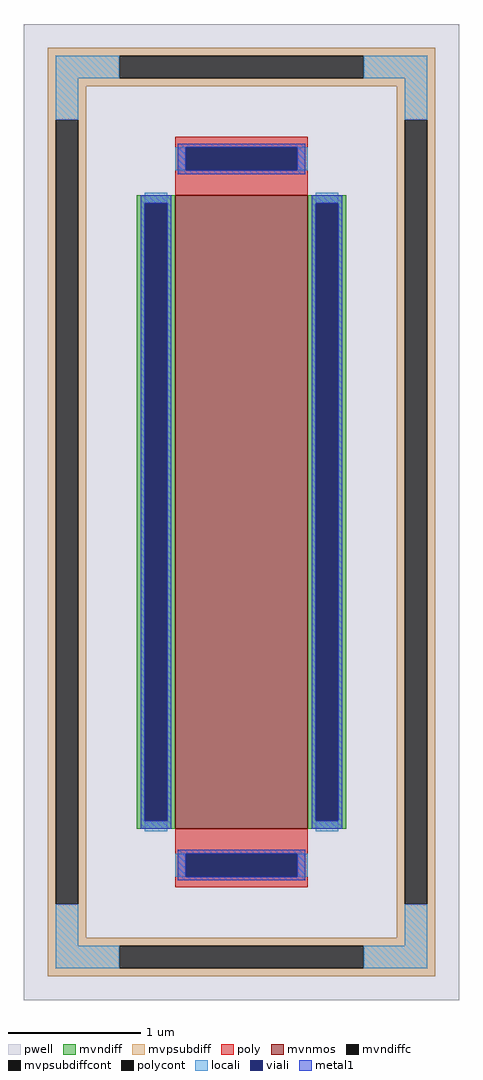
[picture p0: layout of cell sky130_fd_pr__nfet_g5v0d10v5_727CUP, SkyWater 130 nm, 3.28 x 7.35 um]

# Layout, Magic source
magic
tech sky130A
magscale 1 2
<< pwell >>
rect -328 -735 328 735
<< mvnmos >>
rect -100 -477 100 477
<< mvndiff >>
rect -158 465 -100 477
rect -158 -465 -146 465
rect -112 -465 -100 465
rect -158 -477 -100 -465
rect 100 465 158 477
rect 100 -465 112 465
rect 146 -465 158 465
rect 100 -477 158 -465
<< mvndiffc >>
rect -146 -465 -112 465
rect 112 -465 146 465
<< mvpsubdiff >>
rect -292 687 292 699
rect -292 653 -184 687
rect 184 653 292 687
rect -292 641 292 653
rect -292 591 -234 641
rect -292 -591 -280 591
rect -246 -591 -234 591
rect 234 591 292 641
rect -292 -641 -234 -591
rect 234 -591 246 591
rect 280 -591 292 591
rect 234 -641 292 -591
rect -292 -653 292 -641
rect -292 -687 -184 -653
rect 184 -687 292 -653
rect -292 -699 292 -687
<< mvpsubdiffcont >>
rect -184 653 184 687
rect -280 -591 -246 591
rect 246 -591 280 591
rect -184 -687 184 -653
<< poly >>
rect -100 549 100 565
rect -100 515 -84 549
rect 84 515 100 549
rect -100 477 100 515
rect -100 -515 100 -477
rect -100 -549 -84 -515
rect 84 -549 100 -515
rect -100 -565 100 -549
<< polycont >>
rect -84 515 84 549
rect -84 -549 84 -515
<< locali >>
rect -280 653 -184 687
rect 184 653 280 687
rect -280 591 -246 653
rect 246 591 280 653
rect -100 515 -84 549
rect 84 515 100 549
rect -146 465 -112 481
rect -146 -481 -112 -465
rect 112 465 146 481
rect 112 -481 146 -465
rect -100 -549 -84 -515
rect 84 -549 100 -515
rect -280 -653 -246 -591
rect 246 -653 280 -591
rect -280 -687 -184 -653
rect 184 -687 280 -653
<< viali >>
rect -84 515 84 549
rect -146 -465 -112 465
rect 112 -465 146 465
rect -84 -549 84 -515
<< metal1 >>
rect -96 549 96 555
rect -96 515 -84 549
rect 84 515 96 549
rect -96 509 96 515
rect -152 465 -106 477
rect -152 -465 -146 465
rect -112 -465 -106 465
rect -152 -477 -106 -465
rect 106 465 152 477
rect 106 -465 112 465
rect 146 -465 152 465
rect 106 -477 152 -465
rect -96 -515 96 -509
rect -96 -549 -84 -515
rect 84 -549 96 -515
rect -96 -555 96 -549
<< properties >>
string FIXED_BBOX -263 -670 263 670
string gencell sky130_fd_pr__nfet_g5v0d10v5
string library sky130
string parameters w 4.77 l 1.0 m 1 nf 1 diffcov 100 polycov 100 guard 1 glc 1 grc 1 gtc 1 gbc 1 tbcov 100 rlcov 100 topc 1 botc 1 poverlap 0 doverlap 1 lmin 0.50 wmin 0.42 compatible {sky130_fd_pr__nfet_01v8 sky130_fd_pr__nfet_01v8_lvt  sky130_fd_bs_flash__special_sonosfet_star  sky130_fd_pr__nfet_g5v0d10v5 sky130_fd_pr__nfet_05v0_nvt  sky130_fd_pr__nfet_03v3_nvt} full_metal 1 viasrc 100 viadrn 100 viagate 100 viagb 0 viagr 0 viagl 0 viagt 0
<< end >>
